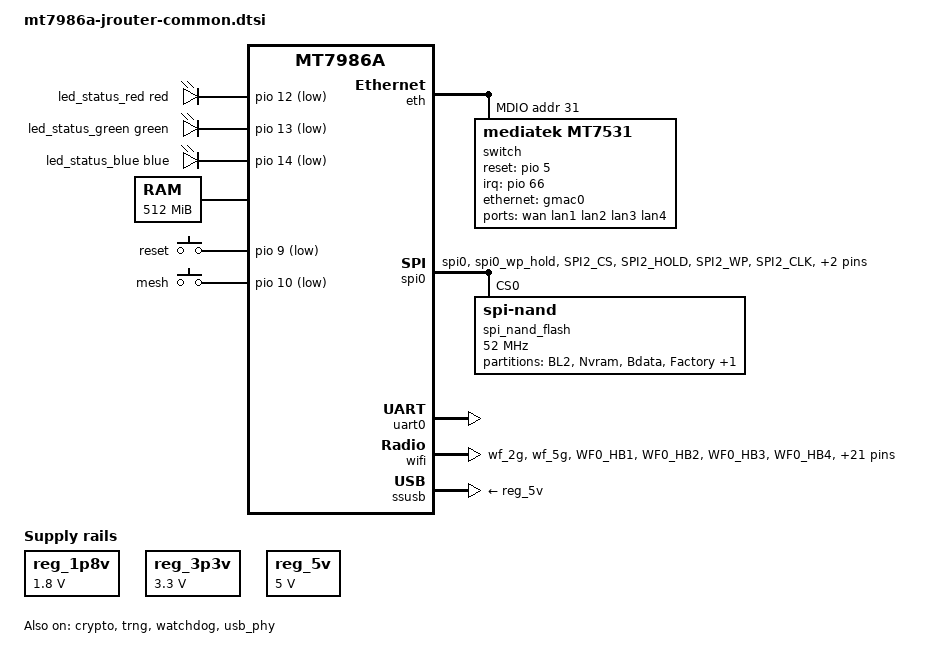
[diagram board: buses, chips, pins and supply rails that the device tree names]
// SPDX-License-Identifier: (GPL-2.0 OR MIT)

/dts-v1/;
#include <dt-bindings/input/input.h>
#include <dt-bindings/gpio/gpio.h>
#include <dt-bindings/leds/common.h>
#include <dt-bindings/pinctrl/mt65xx.h>

#include "mt7986a.dtsi"

/ {
	aliases {
		serial0 = &uart0;
		// led-boot = &led_status_red;
		// led-failsafe = &led_status_red;
		// led-running = &led_status_green;
		// led-upgrade = &led_status_blue;

	};

	leds {
		compatible = "gpio-leds";

		led_status_red: led-0 {
			color = <LED_COLOR_ID_RED>;
			function = LED_FUNCTION_STATUS;
			function-enumerator = <0>;
			gpios = <&pio 12 GPIO_ACTIVE_LOW>;
		};

		led_status_green: led-1 {
			color = <LED_COLOR_ID_GREEN>;
			function = LED_FUNCTION_STATUS;
			function-enumerator = <0>;
			gpios = <&pio 13 GPIO_ACTIVE_LOW>;
		};

		led_status_blue: led-2 {
			color = <LED_COLOR_ID_BLUE>;
			function = LED_FUNCTION_STATUS;
			function-enumerator = <0>;
			gpios = <&pio 14 GPIO_ACTIVE_LOW>;
		};

    };


	chosen: chosen {
		stdout-path = "serial0:115200n8";
	};

	memory@40000000 {
		reg = <0 0x40000000 0 0x20000000>;
		device_type = "memory";
	};

	keys {
		compatible = "gpio-keys";

		reset {
			label = "reset";
			gpios = <&pio 9 GPIO_ACTIVE_LOW>;
			linux,code = <KEY_RESTART>;
		};

		mesh {
			label = "mesh";
			gpios = <&pio 10 GPIO_ACTIVE_LOW>;
			linux,code = <BTN_9>;
			linux,input-type = <EV_SW>;
		};
	};

	reg_1p8v: regulator-1p8v {
		compatible = "regulator-fixed";
		regulator-name = "fixed-1.8V";
		regulator-min-microvolt = <1800000>;
		regulator-max-microvolt = <1800000>;
		regulator-boot-on;
		regulator-always-on;
	};

	reg_3p3v: regulator-3p3v {
		compatible = "regulator-fixed";
		regulator-name = "fixed-3.3V";
		regulator-min-microvolt = <3300000>;
		regulator-max-microvolt = <3300000>;
		regulator-boot-on;
		regulator-always-on;
	};

	reg_5v: regulator-5v {
		compatible = "regulator-fixed";
		regulator-name = "fixed-5V";
		regulator-min-microvolt = <5000000>;
		regulator-max-microvolt = <5000000>;
		regulator-boot-on;
		regulator-always-on;
	};

};

&crypto {
	status = "okay";
};

&eth {
	status = "okay";

	gmac0: mac@0 {
		compatible = "mediatek,eth-mac";
		reg = <0>;
		phy-mode = "2500base-x";

		nvmem-cells = <&macaddr_factory_4 (-1)>;
		nvmem-cell-names = "mac-address";

		fixed-link {
			speed = <2500>;
			full-duplex;
			pause;
		};
	};

	mdio: mdio-bus {
		#address-cells = <1>;
		#size-cells = <0>;
	};
};

&mdio {
	switch: switch@1f {
		compatible = "mediatek,mt7531";
		reg = <31>;
		reset-gpios = <&pio 5 GPIO_ACTIVE_HIGH>;
		interrupt-controller;
		#interrupt-cells = <1>;
		interrupt-parent = <&pio>;
		interrupts = <66 IRQ_TYPE_LEVEL_HIGH>;
	};
};

&pio {
	spi_flash_pins: spi-flash-pins-33-to-38 {
		mux {
			function = "spi";
			groups = "spi0", "spi0_wp_hold";
		};
		conf-pu {
			pins = "SPI2_CS", "SPI2_HOLD", "SPI2_WP";
			drive-strength = <MTK_DRIVE_8mA>;
			bias-disable; /* bias-disable */
		};
		conf-pd {
			pins = "SPI2_CLK", "SPI2_MOSI", "SPI2_MISO";
			drive-strength = <MTK_DRIVE_8mA>;
			bias-disable; /* bias-disable */
		};
	};

	// spi_led_pins: spic-pins-29-to-32 {
	// 	mux {
	// 		function = "spi";
	// 		groups = "spi1_2";
	// 	};
	// };

	wf_2g_5g_pins: wf_2g_5g-pins {
		mux {
			function = "wifi";
			groups = "wf_2g", "wf_5g";
		};
		conf {
			pins = "WF0_HB1", "WF0_HB2", "WF0_HB3", "WF0_HB4",
			       "WF0_HB0", "WF0_HB0_B", "WF0_HB5", "WF0_HB6",
			       "WF0_HB7", "WF0_HB8", "WF0_HB9", "WF0_HB10",
			       "WF0_TOP_CLK", "WF0_TOP_DATA", "WF1_HB1",
			       "WF1_HB2", "WF1_HB3", "WF1_HB4", "WF1_HB0",
			       "WF1_HB5", "WF1_HB6", "WF1_HB7", "WF1_HB8",
			       "WF1_TOP_CLK", "WF1_TOP_DATA";
			drive-strength = <MTK_DRIVE_4mA>;
		};
	};
};

&spi0 {
	pinctrl-names = "default";
	pinctrl-0 = <&spi_flash_pins>;
	status = "okay";

	spi_nand_flash: flash@0 {
		compatible = "spi-nand";
		#address-cells = <1>;
		#size-cells = <1>;
		reg = <0>;

		spi-max-frequency = <52000000>;
		spi-tx-bus-width = <4>;
		spi-rx-bus-width = <4>;

		partitions: partitions {
			compatible = "fixed-partitions";
			#address-cells = <1>;
			#size-cells = <1>;

			partition@0 {
				label = "BL2";
				reg = <0x0 0x100000>;
				read-only;
			};

			partition@100000 {
				label = "Nvram";
				reg = <0x100000 0x40000>;
			};

			partition@140000 {
				label = "Bdata";
				reg = <0x140000 0x40000>;
			};

			factory: partition@180000 {
				label = "Factory";
				reg = <0x180000 0x200000>;
				read-only;

				nvmem-layout {
					compatible = "fixed-layout";
					#address-cells = <1>;
					#size-cells = <1>;

					macaddr_factory_4: macaddr@4 {
						compatible = "mac-base";
						reg = <0x4 0x6>;
						#nvmem-cell-cells = <1>;
					};
				};
			};

			partition@380000 {
				label = "FIP";
				reg = <0x380000 0x200000>;
				read-only;
			};
		};
	};
};

// &spi1 {
// 	pinctrl-names = "default";
// 	pinctrl-0 = <&spi_led_pins>;
// 	status = "okay";

// 	ws2812b@0 {
// 		#address-cells = <1>;
// 		#size-cells = <0>;
// 		compatible = "worldsemi,ws2812b";
// 		reg = <0>;
// 		spi-max-frequency = <3000000>;

// 		led_status_rgb: led@0 {
// 			reg = <0>;
// 			function = LED_FUNCTION_STATUS;
// 			color = <LED_COLOR_ID_RGB>;
// 			color-index = <LED_COLOR_ID_RED LED_COLOR_ID_GREEN LED_COLOR_ID_BLUE>;
// 		};

// 		led_network_rgb: led@1 {
// 			reg = <1>;

// 			/* Hardcoding here for backward compatibility */
// 			function = "network";

// 			color = <LED_COLOR_ID_RGB>;
// 			color-index = <LED_COLOR_ID_RED LED_COLOR_ID_GREEN LED_COLOR_ID_BLUE>;
// 		};
// 	};
// };

&switch {
	ports {
		#address-cells = <1>;
		#size-cells = <0>;

		port@0 {
			reg = <0>;
			label = "wan";
		};

		port@1 {
			reg = <1>;
			label = "lan1";
		};

		port@2 {
			reg = <2>;
			label = "lan2";
		};

		port@3 {
			reg = <3>;
			label = "lan3";
		};

		port@4 {
			reg = <4>;
			label = "lan4";
		};

		port@6 {
			reg = <6>;
			ethernet = <&gmac0>;
			phy-mode = "2500base-x";

			fixed-link {
				speed = <2500>;
				full-duplex;
				pause;
			};
		};
	};
};

&trng {
	status = "okay";
};

&uart0 {
	status = "okay";
};

&watchdog {
	status = "okay";
};

&wifi {
	status = "okay";
	pinctrl-names = "default";
	pinctrl-0 = <&wf_2g_5g_pins>;

	mediatek,mtd-eeprom = <&factory 0x0>;
};

&uart0 {
	status = "okay";
};

&ssusb {
	vusb33-supply = <&reg_3p3v>;
	vbus-supply = <&reg_5v>;
	#address-cells = <0x00000002>;
    #size-cells = <0x00000002>;
	status = "okay";
};

&usb_phy {
	status = "okay";
};
